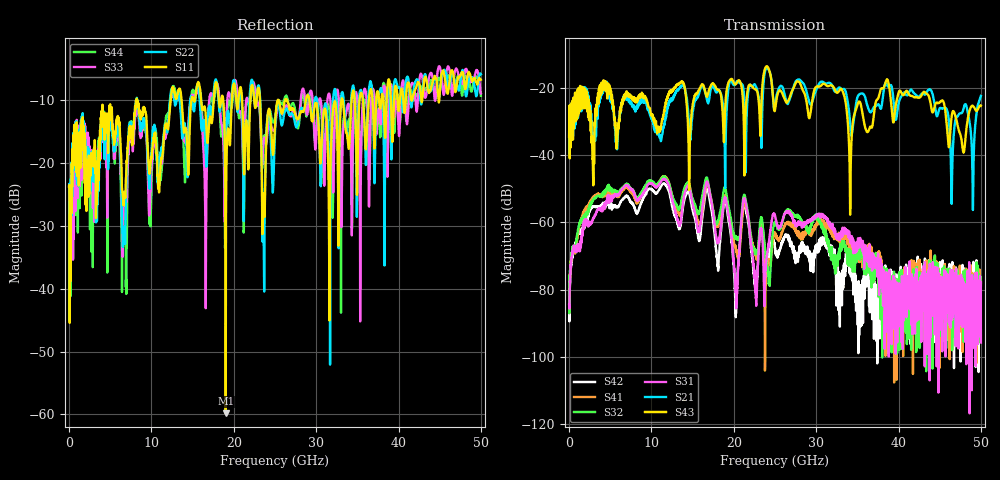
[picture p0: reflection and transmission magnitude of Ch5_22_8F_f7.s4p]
!Agilent Technologies,N5247A,US51170199,A.09.90.13
!Agilent N5247A: A.09.90.13
!Date: Wednesday, December 09, 2015 09:21:04
!Correction: S11(Full 4 Port(1,2,3,4))
!S12(Full 4 Port(1,2,3,4))
!S13(Full 4 Port(1,2,3,4))
!S14(Full 4 Port(1,2,3,4))
!S21(Full 4 Port(1,2,3,4))
!S22(Full 4 Port(1,2,3,4))
!S23(Full 4 Port(1,2,3,4))
!S24(Full 4 Port(1,2,3,4))
!S31(Full 4 Port(1,2,3,4))
!S32(Full 4 Port(1,2,3,4))
!S33(Full 4 Port(1,2,3,4))
!S34(Full 4 Port(1,2,3,4))
!S41(Full 4 Port(1,2,3,4))
!S42(Full 4 Port(1,2,3,4))
!S43(Full 4 Port(1,2,3,4))
!S44(Full 4 Port(1,2,3,4))
!S4P File: Measurements: <S11,S12,S13,S14>,
!<S21,S22,S23,S24>,
!<S31,S32,S33,S34>,
!<S41,S42,S43,S44>:
# Hz S  dB  R 50
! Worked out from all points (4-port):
!   3201 points, 10 MHz to 50 GHz, reference 50 ohm
!   strongest paths, dB at 10 MHz, 12.51 GHz, 25 GHz, 37.5 GHz, 50 GHz:
!     S43: -34.5, -21.0, -26.5, -23.2, -25.2
!     S21: -34.5, -23.5, -25.7, -24.8, -22.3
!     S31: -84.5, -53.3, -58.1, -71.7, -95.8
!     S32: -76.1, -52.1, -60.0, -73.0, -76.3
!     S41: -81.5, -52.0, -63.0, -71.4, -77.5
!     S42: -88.9, -55.1, -67.4, -82.6, -77.9
!   lowest |S11| = -59.8 dB at 19.02 GHz (marker M1), VSWR 1.00, Z = 50.1 - j0.0873 ohm
!   |S11| at or under -10 dB: start of sweep to 8.216 GHz; 8.248 GHz to 12.34 GHz (4.093 GHz wide, 39.8 % of centre); 29.18 GHz to 33.06 GHz (3.889 GHz wide, 12.5 % of centre)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
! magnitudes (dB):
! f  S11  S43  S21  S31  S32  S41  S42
! 10 MHz  -23.8  -34.5  -34.5  -84.5  -76.1  -81.5  -88.9
! 3.337 GHz  -20.1  -25.7  -27.1  -56.7  -52.3  -51.6  -55.3
! 19.02 GHz  -59.8  -23.3  -34.8  -53.0  -50.2  -52.3  -53.6
! 20.27 GHz  -9.5  -18.8  -18.4  -81.9  -64.1  -68.2  -87.1
! 21.3 GHz  -19.8  -45.8  -24.6  -52.8  -51.8  -54.0  -54.6
! 22.65 GHz  -11.1  -20.3  -19.3  -78.3  -68.3  -69.8  -79.0
! 50 GHz  -6.7  -25.2  -22.3  -95.8  -76.3  -77.5  -77.9
